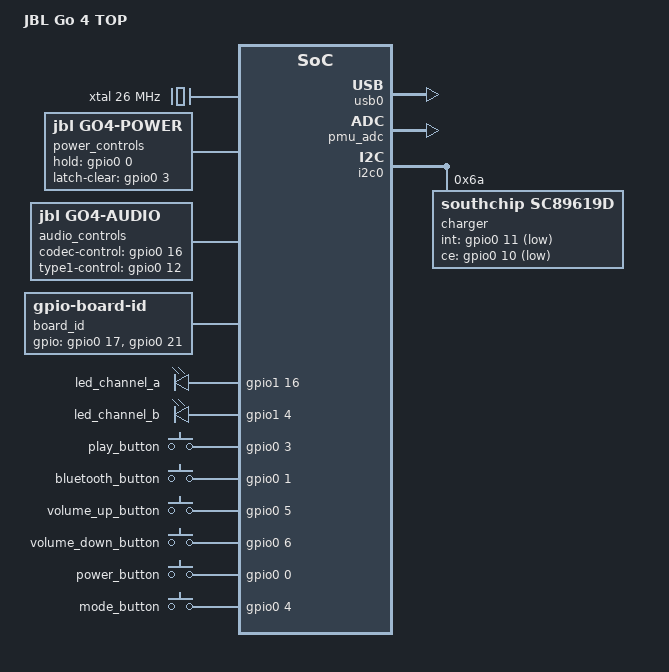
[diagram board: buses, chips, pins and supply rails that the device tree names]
/*
 * Copyright 2026 Michał Bogdziewicz michal@bogdziewicz.xyz
 * SPDX-License-Identifier: Apache-2.0
 */

/dts-v1/;
#include <zgmicro/ws9652a_cputop.dtsi>
#include <zephyr/dt-bindings/gpio/gpio.h>
#include <zephyr/dt-bindings/input/input-event-codes.h>
#include "jbl_go4-pinctrl.dtsi"

/ {
	model = "JBL Go 4 TOP";
	compatible = "jbl,go4";

	xtal: clock-xtal {
		compatible = "fixed-clock";
		clock-frequency = <26000000>;
		#clock-cells = <0>;
	};

	power_controls: power-controls {
		compatible = "jbl,go4-power";
		hold-gpios = <&gpio0 0 GPIO_ACTIVE_HIGH>;
		latch-clear-gpios = <&gpio0 3 GPIO_ACTIVE_HIGH>;
	};

	go4_ipc: stock-ipc {
		compatible = "jbl,go4-stock-ipc";
		memory-region = <&peer_shm>;
		peer-controller = <&peer_ctrl>;
		board-id = <&board_id>;
		mboxes = <&peer_mbox 0>;
		mbox-names = "tx";
	};

	audio_controls: audio-controls {
		compatible = "jbl,go4-audio";
		codec-control-gpios = <&gpio0 16 GPIO_ACTIVE_HIGH>;
		type1-control-gpios = <&gpio0 12 GPIO_ACTIVE_HIGH>;
	};

	board_id: board-id {
		compatible = "gpio-board-id";
		/* External straps: GPIO_INPUT keeps the internal 22 kOhm pull-downs off. */
		gpios = <&gpio0 17 GPIO_ACTIVE_HIGH>, <&gpio0 21 GPIO_ACTIVE_HIGH>;
		/* Raw bits 00, 01, 10, 11 map to stock board types 4, 2, 1, 3. */
		id-values = <4 2 1 3>;
		sample-count = <3>;
		sample-interval-us = <10>;
		/* Sample only after peer preparation, before BT takes over GPIO21. */
		zephyr,deferred-init;
	};

	chosen {
		cwbeat,charger = &charger;
		cwbeat,leds = &leds;
		cwbeat,buttons = &buttons;
		zephyr,sram = &sram0;
		zephyr,flash = &flash0;
		zephyr,console = &usb_serial;
		zephyr,shell-uart = &usb_serial;
	};

	aliases {
		led0 = &led_channel_a;
		led1 = &led_channel_b;
		sw0 = &play_button;
		sw1 = &bluetooth_button;
		sw2 = &volume_up_button;
		sw3 = &volume_down_button;
		sw4 = &power_button;
		sw5 = &mode_button;
	};

	leds: leds {
		compatible = "gpio-leds";
		/* Channel names avoid assuming undocumented optical polarity. */
		led_channel_a: led-channel-a {
			gpios = <&gpio1 16 GPIO_ACTIVE_HIGH>;
		};
		led_channel_b: led-channel-b {
			gpios = <&gpio1 4 GPIO_ACTIVE_HIGH>;
		};
	};

	buttons: buttons {
		compatible = "gpio-keys";
		polling-mode;
		debounce-interval-ms = <20>;
		zephyr,suspend-action = "none";

		play_button: play {
			gpios = <&gpio0 3 (GPIO_ACTIVE_HIGH | GPIO_PULL_DOWN)>;
			zephyr,code = <INPUT_KEY_PLAYPAUSE>;
		};
		bluetooth_button: bluetooth {
			gpios = <&gpio0 1 (GPIO_ACTIVE_HIGH | GPIO_PULL_DOWN)>;
			zephyr,code = <INPUT_KEY_BLUETOOTH>;
		};
		volume_up_button: volume-up {
			gpios = <&gpio0 5 (GPIO_ACTIVE_HIGH | GPIO_PULL_DOWN)>;
			zephyr,code = <INPUT_KEY_VOLUMEUP>;
		};
		volume_down_button: volume-down {
			gpios = <&gpio0 6 (GPIO_ACTIVE_HIGH | GPIO_PULL_DOWN)>;
			zephyr,code = <INPUT_KEY_VOLUMEDOWN>;
		};
		power_button: power {
			gpios = <&gpio0 0 (GPIO_ACTIVE_HIGH | GPIO_PULL_DOWN)>;
			zephyr,code = <INPUT_KEY_POWER>;
		};
		mode_button: mode {
			gpios = <&gpio0 4 (GPIO_ACTIVE_HIGH | GPIO_PULL_DOWN)>;
			zephyr,code = <INPUT_KEY_CONNECT>;
		};
	};
};

&clkctrl {
	clocks = <&xtal>;
	clock-names = "xtal";
};

&gpio0 {
	status = "okay";
};

&gpio1 {
	status = "okay";
};

&peer_ctrl {
	/* Deferred until successful peer hold and PMU preparation. */
	pinctrl-0 = <&peer_default>;
	pinctrl-names = "default";
};

&usb0 {
	status = "okay";

	usb_serial: cdc-acm-uart {
		compatible = "zephyr,cdc-acm-uart";
		label = "CWbeat console";
		tx-fifo-size = <512>;
		rx-fifo-size = <256>;
	};
};

&pmu_adc {
	status = "okay";
};

&i2c0 {
	status = "okay";
	pinctrl-0 = <&i2c0_default>;
	pinctrl-names = "default";

	charger: charger@6a {
		compatible = "southchip,sc89619d";
		reg = <0x6a>;
		int-gpios = <&gpio0 11 GPIO_ACTIVE_LOW>;
		/* Recovered type-1 TOP charge-control sequence; net not continuity-tested. */
		ce-gpios = <&gpio0 10 GPIO_ACTIVE_LOW>;
		#include "jbl_go4-charger.dtsi"
		/* Probe after type-1 detection, while BT/DSP remain held. */
		zephyr,deferred-init;
	};
};
